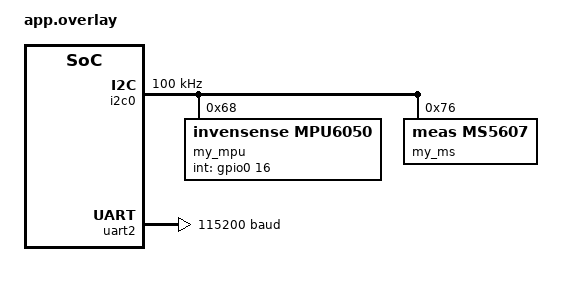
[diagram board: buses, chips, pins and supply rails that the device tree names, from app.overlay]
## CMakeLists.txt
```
cmake_minimum_required(VERSION 3.20.0)
find_package(Zephyr REQUIRED HINTS $ENV{ZEPHYR_BASE})
project(basem_blink)

target_sources(app PRIVATE src/main.c)
```

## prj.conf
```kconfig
CONFIG_GPIO=y
CONFIG_GPIO_ESP32=y

CONFIG_I2C=y
CONFIG_I2C_ESP32=y

CONFIG_SENSOR=y
CONFIG_SENSOR_SHELL=y

CONFIG_MPU6050=y
CONFIG_MPU6050_TRIGGER_OWN_THREAD=y
CONFIG_MPU6050_THREAD_PRIORITY=1
CONFIG_MPU6050_THREAD_STACK_SIZE=1024

CONFIG_MS5607=y
CONFIG_MS5607_PRES_OVER_4096X=y
CONFIG_MS5607_TEMP_OVER_256X=y

CONFIG_SHELL=y
CONFIG_I2C_SHELL=y
CONFIG_UART_CONSOLE=y

CONFIG_MPU6050_ACCEL_FS=8
CONFIG_MPU6050_GYRO_FS=1000

CONFIG_ESP32_USE_UNSUPPORTED_REVISION=y

CONFIG_CBPRINTF_FP_SUPPORT=y
```

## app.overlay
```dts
&i2c0 {
    status = "okay";
    clock-frequency = <100000>;
    my_mpu: mpu6050@68 {
        compatible = "invensense,mpu6050";
        reg = <0x68>;
        int-gpios = <&gpio0 16 GPIO_ACTIVE_HIGH>;
    };
    my_ms: ms5607@76 {
        compatible = "meas,ms5607";
        reg = <0x76>;
    };
};


&uart2 {
    status = "okay";
    current-speed = <115200>;
    pinctrl-0 = <&uart2_default>;
    pinctrl-names = "default";
};
```

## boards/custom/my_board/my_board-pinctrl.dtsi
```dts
#include <zephyr/dt-bindings/pinctrl/esp-pinctrl-common.h>
#include <dt-bindings/pinctrl/esp32s3-pinctrl.h>
#include <zephyr/dt-bindings/pinctrl/esp32s3-gpio-sigmap.h>

&pinctrl {
	uart0_default: uart0_default {
		group1 {
			pinmux = <UART0_TX_GPIO43>;
			output-high;
		};
		group2 {
			pinmux = <UART0_RX_GPIO44>;
			bias-pull-up;
		};
	};

	uart1_default: uart1_default {
		group1 {
			pinmux = <UART1_TX_GPIO17>;
			output-high;
		};
	};

	spi2_custom_pins: spi2_custom_pins {
        group1 {
			pinmux = <SPIM2_MISO_GPIO11>,
				     <SPIM2_SCLK_GPIO12>,
				     <SPIM2_CSEL_GPIO9>;
		};
		group2 {
			pinmux = <SPIM2_MOSI_GPIO10>;
			output-low;
		};
    };
};
```

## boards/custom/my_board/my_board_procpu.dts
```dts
/dts-v1/;

#include "espressif/esp32s3/esp32s3_wroom_n8.dtsi"
#include "my_board-pinctrl.dtsi"
#include <zephyr/dt-bindings/input/input-event-codes.h>
#include <espressif/partitions_0x0_amp.dtsi>
#include <zephyr/dt-bindings/mipi_dbi/mipi_dbi.h>

/ {
	model = "My Board PROCPU";
	compatible = "espressif,esp32s3";

	aliases {
		watchdog0 = &wdt0;
		led-0 = &led0;
	};

	chosen {
		zephyr,sram = &sram0;
		zephyr,console = &uart0;
		zephyr,shell-uart = &uart0;
		zephyr,flash = &flash0;
		zephyr,code-partition = &slot0_partition;
		zephyr,display = &st7735r_160x80;
	};

	aliases {
		uart-0 = &uart0;
		sw0 = &button0;
	};

	buttons {
		compatible = "gpio-keys";
		button0: button_0 {
			gpios = <&gpio0 0 (GPIO_PULL_UP | GPIO_ACTIVE_LOW)>;
			label = "BOOT Button";
			zephyr,code = <INPUT_KEY_0>;
		};
	};

	leds {
        compatible = "gpio-leds";
        led0: d13 {
            gpios = <&gpio0 13 GPIO_ACTIVE_HIGH>;
        };
    };

	mipi_dbi {
		compatible = "zephyr,mipi-dbi-spi";
		spi-dev = <&spi2>;
		dc-gpios = <&gpio0 18 GPIO_ACTIVE_HIGH>;
        reset-gpios = <&gpio0 8 GPIO_ACTIVE_LOW>;
		#address-cells = <1>;
		#size-cells = <0>;

		st7735r_160x80: st7735r@0 {
			compatible = "sitronix,st7735r";
            reg = <0>;
			mipi-max-frequency = <20000000>;
			mipi-mode = <MIPI_DBI_MODE_SPI_4WIRE>;
			width = <160>;
			height = <80>;
			inversion-on;
			rgb-is-inverted; 
			x-offset = <1>;
			y-offset = <26>;
			pwctr1 = [A2 02 84];
			pwctr2 = [C5];
			pwctr3 = [0A 00];
			pwctr4 = [8A 2A];
			pwctr5 = [8A EE];
			invctr = <7>;
			frmctr1 = [01 2C 2D];
			frmctr2 = [01 2C 2D];
			frmctr3 = [01 2C 2D 01 2C 2D];
			vmctr1 = <14>;
			gamctrp1 = [02 1C 07 12 37 32 29 2D 29 25 2B 39 00 01 03 10];
			gamctrn1 = [03 1D 07 06 2E 2C 29 2D 2E 2E 37 3F 00 00 02 10];
			colmod = <5>;
			/* Set D3 (RGB) bit to 1. LV_COLOR_16_SWAP is enabled by default */
			madctl = <184>; /* Set to <184> to rotate the image 180 degrees. */
			caset = [00 01 00 a0];
			raset = [00 1a 00 69];
		};
	};
};

&uart0 {
	status = "okay";
	current-speed = <115200>;
	pinctrl-0 = <&uart0_default>;
	pinctrl-names = "default";
};

&uart1 {
	status = "okay";
	current-speed = <115200>;
	pinctrl-0 = <&uart1_default>;
	pinctrl-names = "default";
};

&gpio0 {
	status = "okay";
};


&wdt0 {
	status = "okay";
};

&spi2 {
	#address-cells = <1>;
	#size-cells = <0>;
	status = "okay";
	pinctrl-0 = <&spi2_custom_pins>;
	pinctrl-names = "default";
};
```

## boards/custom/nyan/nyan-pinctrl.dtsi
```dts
#include <zephyr/dt-bindings/pinctrl/esp-pinctrl-common.h>
#include <dt-bindings/pinctrl/esp32-pinctrl.h>
#include <zephyr/dt-bindings/pinctrl/esp32s3-gpio-sigmap.h>

&pinctrl {
    uart0_default: uart0_default {
        group1 {
            pinmux = <UART0_TX_GPIO43>;
            output-high;
        };
        group2 {
            pinmux = <UART0_RX_GPIO44>;
            bias-pull-up;
        };
    };
};
```

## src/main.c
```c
#include <zephyr/kernel.h>
#include <zephyr/device.h>
#include <zephyr/drivers/sensor.h>
#include <math.h>
#include <time.h>
#include <zephyr/drivers/i2c.h>
#include <zephyr/drivers/uart.h>

#define UART_TEST_NODE DT_NODELABEL(uart2)
#define N 5
#define BARO_LOOP_MS 10
#define BARO_FC_HZ           1.5f       // 1.0 or less for more filtering, 2.0 Hz or less filtering
#define BARO_ALPHA_MIN       0.01f
#define BARO_ALPHA_MAX       0.80f
#define M_PI 3.14159265358979323846
#define BARO_BETA            0.01f    
#define BARO_MIN_STABLE_TIME 300
#define GYRO_STILL_THRESHOLD      2.5f
#define ACCEL_ERROR_THRESHOLD     0.35f       
#define STILL_ENTER_COUNT         20
#define STILL_EXIT_COUNT          8
#define GROUND_CAL_TIMEOUT_MS     20000
#define THERMAL_K1_HPA_PER_C   (-0.170894f)   // from your regression
#define THERMAL_MIN_PRESSURE   300.0f         // safety clamp
#define THERMAL_MAX_PRESSURE   1200.0f        // safety clamp

static const struct device *uart_dev = DEVICE_DT_GET(UART_TEST_NODE);
float A_inv[3][3] = {
		{1.011020f, -0.007368f, 0.008895f}, 
		{-0.007368f, 1.001592f, 0.002973f}, 
		{0.008895f, 0.002979f, 1.000076f}
};
float b_accel[3] = {0.145774f, -0.047434f, -0.799729f};
float pitcha = 0.0f;
float rolla = 0.0f;
float rad_to_deg = 57.29577951f;
int64_t last_time = 0;
float dt = 0.0f;
float rollg = 0.0f, pitchg = 0.0f, yawg = 0.0f;
float rollc = 0.0f, pitchc = 0.0f;
float cnfdne_wght_rol = 0.004f;
float cnfdne_wght_pitch = 0.004f;
float level_offsets[2] = {0.0f, 0.0f};
float gx_cal = 0.0f, gy_cal = 0.0f, gz_cal = 0.0f;
static float baro_ring[N];
static int baro_idx = 0;
static bool baro_full = false;
static bool baro_lpf_init = false;
static float p_lpf = 0.0f;
static int64_t baro_last_time_us = 0;

/* ===== Global IMU Values (updated by trigger_handler at 200 Hz) ===== */
static float raw_g_global[3] = {0.0f, 0.0f, 0.0f};
static float cal_a_global[3] = {0.0f, 0.0f, 0.0f};

void trigger_handler(const struct device *dev, const struct sensor_trigger *trig) {
		int64_t current_time = k_ticks_to_us_near64(k_uptime_ticks());
		if(last_time !=0){
				dt = (current_time - last_time) / 1000000.0f;   // Convert microseconds to seconds
		}else{
				dt = 0.0f;                                      // First reading, no time difference
		}

		last_time = current_time;

		struct sensor_value accel[3];
		struct sensor_value gyro[3];
		float raw_a[3], raw_g[3], cal_a[3], shifted_a[3];

		sensor_sample_fetch(dev);
		sensor_channel_get(dev, SENSOR_CHAN_ACCEL_XYZ, accel);
		sensor_channel_get(dev, SENSOR_CHAN_GYRO_XYZ, gyro);

		for (int i = 0; i < 3; i++) {
				raw_a[i] = (float)sensor_value_to_double(&accel[i]);
				raw_g[i] = (float)sensor_value_to_double(&gyro[i])*rad_to_deg;
				shifted_a[i] = raw_a[i] - b_accel[i];
		}

		for (int i = 0; i < 3; i++) {
				cal_a[i] = A_inv[i][0] * shifted_a[0] + A_inv[i][1] * shifted_a[1] + A_inv[i][2] * shifted_a[2];
		}

		rollg = rollg + (-(raw_g[1] - gy_cal))* dt;
		pitchg = pitchg + (raw_g[0] - gx_cal)* dt;
		yawg = yawg + raw_g[2] * dt;

		rolla = atan2f((cal_a[0] - level_offsets[0]), cal_a[2])*rad_to_deg;
		pitcha = atan2f((cal_a[1] - level_offsets[1]), cal_a[2])*rad_to_deg;

		rollc = (rolla * cnfdne_wght_rol + (1.0f - cnfdne_wght_rol) * (rollc + (-(raw_g[1] - gy_cal))* dt));
		pitchc = (pitcha * cnfdne_wght_pitch + (1.0f - cnfdne_wght_pitch) * (pitchc + (raw_g[0] - gx_cal)* dt));

		for (int i = 0; i < 3; i++) {
				raw_g_global[i] = raw_g[i];
				cal_a_global[i] = cal_a[i];
		}
		// printk("rolla:%f, pitcha:%f, rollc:%f, pitchc:%f\n",
		//     (double)(rolla),
		//     (double)(pitcha),
		//     (double)(rollc),
		//     (double)(pitchc));

}

// Median filter to reduce sudent spikes in barometer readings
static float median5_from_ring(const float ring[N], bool full, int idx)
{
		float w[N];
		int count = full ? N : idx;
		if (count <= 0) {
				return 0.0f;
		}
		for (int i = 0; i < count; i++) {
				w[i] = ring[i];
		}
		for (int i = 0; i < count - 1; i++) {
				for (int j = 0; j < count - 1 - i; j++) {
						if (w[j] > w[j + 1]) {
								float tmp = w[j];
								w[j] = w[j + 1];
								w[j + 1] = tmp;
						}
				}
		}
		return w[count / 2];
}
static float median5_sliding_update(float p_new)
{
		baro_ring[baro_idx] = p_new;
		baro_idx = (baro_idx + 1) % N;

		if (baro_idx == 0) {
				baro_full = true;
		}

		return median5_from_ring(baro_ring, baro_full, baro_idx);
}

/* ---------- Barometer LPF ---------- */

// Compute alpha from cutoff and dt: alpha = 1 - exp(-2*pi*fc*dt)
static float baro_compute_alpha(float fc_hz, float dt_s)
{
		float alpha = 1.0f - expf(-2.0f * (float)M_PI * fc_hz * dt_s);

		if (alpha < BARO_ALPHA_MIN) {
				alpha = BARO_ALPHA_MIN;
		}
		if (alpha > BARO_ALPHA_MAX) {
				alpha = BARO_ALPHA_MAX;
		}
		return alpha;
}
// One-pole IIR LPF update in pressure domain: p_lpf = alpha * p_med + (1-alpha) * p_lpf
static float baro_lpf_update(float p_med, float fc_hz, float dt_s)
{
		float alpha = baro_compute_alpha(fc_hz, dt_s);

		if (!baro_lpf_init) {
				p_lpf = p_med;          /* clean startup */
				baro_lpf_init = true;
		} else {
				p_lpf += alpha * (p_med - p_lpf);
		}

		return p_lpf;
}

/* Stationarity update: returns true when platform is considered still */
static bool stationarity_update(int32_t *still_count,
																int32_t *moving_count,
																bool is_stationary_locked)
{
		float g_snapshot[3];
		float a_snapshot[3];
		g_snapshot[0] = raw_g_global[0];
		g_snapshot[1] = raw_g_global[1];
		g_snapshot[2] = raw_g_global[2];
		a_snapshot[0] = cal_a_global[0];
		a_snapshot[1] = cal_a_global[1];
		a_snapshot[2] = cal_a_global[2];

		float gyro_norm = sqrtf((g_snapshot[0] - gx_cal) * (g_snapshot[0] - gx_cal) +
														(g_snapshot[1] - gy_cal) * (g_snapshot[1] - gy_cal) +
														(g_snapshot[2] - gz_cal) * (g_snapshot[2] - gz_cal));
		float accel_magnitude = sqrtf(a_snapshot[0] * a_snapshot[0] +
																a_snapshot[1] * a_snapshot[1] +
																a_snapshot[2] * a_snapshot[2]);
		float accel_error = fabsf(accel_magnitude - 9.81f);

		bool still_now = (gyro_norm < GYRO_STILL_THRESHOLD) &&
										(accel_error < ACCEL_ERROR_THRESHOLD);

		if (!is_stationary_locked) {
				if (still_now) {
						(*still_count)++;
						*moving_count = 0;
						if (*still_count >= STILL_ENTER_COUNT) {
								is_stationary_locked = true;
								*still_count = 0;
						}
				} else {
						*still_count = 0;
				}
		} else {
				if (!still_now) {
						(*moving_count)++;
						*still_count = 0;
						if (*moving_count >= STILL_EXIT_COUNT) {
								is_stationary_locked = false;
								*moving_count = 0;
						}
				} else {
						*moving_count = 0;
				}
		}

		return is_stationary_locked;
}

/* Ground calibration update: adapts and locks baseline pressure */
static void ground_cal_update(bool is_stationary_locked,
														float p_lpf_sample,
														int64_t now_us,
														int64_t ground_cal_start_us,
														bool *in_GROUND_CAL,
														bool *baseline_locked,
														float *p_ref_adaptive,
														int32_t *ground_cal_samples)
{
		if (!(*in_GROUND_CAL) || *baseline_locked) {
				return;
		}

		if (is_stationary_locked) {
				*p_ref_adaptive += BARO_BETA * (p_lpf_sample - *p_ref_adaptive);
				(*ground_cal_samples)++;
		} else {
				*ground_cal_samples = 0;
				printk("GROUND_CAL reset due to movement\n");
		}

		int64_t cal_elapsed_ms = (now_us - ground_cal_start_us) / 1000;
		if (*ground_cal_samples >= BARO_MIN_STABLE_TIME || cal_elapsed_ms >= GROUND_CAL_TIMEOUT_MS) {
				*baseline_locked = true;
				*in_GROUND_CAL = false;
				printk("GROUND_CAL complete. Baseline: %f hPa, elapsed:%lld ms\n",
						(double)*p_ref_adaptive,
						(long long)cal_elapsed_ms);
		}
}

int main(void) {
		const struct device *dev = DEVICE_DT_GET(DT_NODELABEL(my_mpu));
		const struct device *dev_baro = DEVICE_DT_GET(DT_NODELABEL(my_ms));
		struct sensor_value a_tmp[3], g_tmp[3];
		float a_sum[3] = {0.0f, 0.0f, 0.0f}, g_sum[3] = {0.0f, 0.0f, 0.0f};
		float p_ref = 0.0f;
		int s = 200;
		struct sensor_value pressure, temperature;
		float AltitudeBarometer;
		float R = 287.05; // Specific gas constant for dry air in J/(kg*K)
		float g = 9.80665; // Standard gravity in m/s^2
		float p_av = 0.0f;

		static bool in_GROUND_CAL = true;
		static bool baseline_locked = false;
		static int32_t ground_cal_samples = 0;
		static float p_ref_adaptive = 0.0f;
		static bool is_stationary_locked = false;
		static int32_t still_count = 0;
		static int32_t moving_count = 0;
		static bool thermal_ref_locked = false;
		static float thermal_t_ref_c = 0.0f;
		char tx_buf[64];

		// //Kalman Filter variables
		// static float kf_initialized = false;
		// // System state: X = [h, v]
		// static float h_est = 0.0f;
		// static float v_est = 0.0f;

		// // Convariance P 2*2
		// static float p00 = 1.0f, p01 = 0.0f, p10 = 0.0f, p11 = 1.0f;
		// static float sigma_a = 1.2f;
		// static float r_baro = 0.08f;

		k_msleep(500);

		if (!device_is_ready(dev)){
				printk("MPU6050 not ready!\n");
				return 0;
		}
		if (!device_is_ready(dev_baro)){
				printk("Barometer not ready!\n");
				return 0;
		}

		// 1. Get the I2C bus device that the MPU6050 is connected to
		const struct device *i2c_dev = DEVICE_DT_GET(DT_NODELABEL(i2c0));
		if (!device_is_ready(i2c_dev)) {
				printk("I2C bus not ready!\n");
				return 0;
		}

		if (!device_is_ready(uart_dev)) {
			printk("UART device is not ready\n");
			return 0;
		}
		
		// 2. Set DLPF to Level 1 (Sets base clock to 1000 Hz and filters noise)
		i2c_reg_write_byte(i2c_dev, 0x68, 0x1A, 0x01);

		// 3. Set Sample Rate Divider to 4 (1000 Hz / (1 + 4) = 200 Hz)
		i2c_reg_write_byte(i2c_dev, 0x68, 0x19, 0x04);
		
		for (int i = 0; i < 50; i++){
				sensor_sample_fetch(dev);
				k_msleep(3);
		}
		for (int i = 0; i < 50; i++){
				sensor_sample_fetch(dev_baro);
				k_msleep(10);
		}

		for (int i = 0; i < s; i++) {
				sensor_sample_fetch(dev);
				sensor_channel_get(dev, SENSOR_CHAN_ACCEL_XYZ, a_tmp);
				sensor_channel_get(dev, SENSOR_CHAN_GYRO_XYZ, g_tmp);
				for (int j = 0; j < 3; j++) {
						a_sum[j] += (float)sensor_value_to_double(&a_tmp[j]);
						g_sum[j] += (float)sensor_value_to_double(&g_tmp[j]);
				}
				k_msleep(3);
		}

		float ax = (a_sum[0] / s) - b_accel[0], ay = (a_sum[1] / s) - b_accel[1], az = (a_sum[2] / s) - b_accel[2];
		gx_cal = (g_sum[0] / s) * rad_to_deg, gy_cal = (g_sum[1] / s) * rad_to_deg, gz_cal = (g_sum[2] / s) * rad_to_deg;
		level_offsets[0] = A_inv[0][0] * ax + A_inv[0][1] * ay + A_inv[0][2] * az;
		level_offsets[1] = A_inv[1][0] * ax + A_inv[1][1] * ay + A_inv[1][2] * az;
		struct sensor_trigger trig = {.type = SENSOR_TRIG_DATA_READY, .chan = SENSOR_CHAN_ALL};
		sensor_trigger_set(dev, &trig, trigger_handler);
		
		// Compputing initial reference pressure for altitude calculation by taking median of N samples to reduce effect of spiks
		float samples[9];
		for (int i = 0; i < 9; i++) {
				sensor_sample_fetch(dev_baro);
				sensor_channel_get(dev_baro, SENSOR_CHAN_PRESS, &pressure);
				samples[i] = (float)sensor_value_to_double(&pressure);
				k_msleep(10);
		}
		for (int i = 0; i < 9 - 1; i++) {
				for (int j = i + 1; j < 9; j++) {
						if (samples[j] < samples[i]) {
								float tmp = samples[i];
								samples[i] = samples[j];
								samples[j] = tmp;
						}
				}
		}
		for (int i = 4; i < 7; i++) {
				p_av += samples[i];
		}
		p_ref = p_av / 3.0f;
		// for (int i = 0; i < 9    ; i++) {
		//     printk("%f\n", (double)samples[i]);
		// }
		// printk("%f\n", (double)p_ref);
		p_ref_adaptive = p_ref;
		baro_last_time_us = k_ticks_to_us_near64(k_uptime_ticks());
		int64_t ground_cal_start_us = baro_last_time_us;
		// while (1) k_sleep(K_FOREVER);
		while (1) {
				int64_t now_us = k_ticks_to_us_near64(k_uptime_ticks());
				float dt_meas_s = (baro_last_time_us > 0)
						? ((float)(now_us - baro_last_time_us) / 1000000.0f)
						: 0.02f;
				baro_last_time_us = now_us;
				if (dt_meas_s < 0.010f) dt_meas_s = 0.010f;
				if (dt_meas_s > 0.100f) dt_meas_s = 0.100f;

				is_stationary_locked = stationarity_update(&still_count, &moving_count, is_stationary_locked);

				sensor_sample_fetch(dev_baro);
				sensor_channel_get(dev_baro, SENSOR_CHAN_PRESS, &pressure);
				sensor_channel_get(dev_baro, SENSOR_CHAN_AMBIENT_TEMP, &temperature);
				float p_raw = (float)sensor_value_to_double(&pressure);
				float t = (float)sensor_value_to_double(&temperature);

				float p_med = median5_sliding_update(p_raw);
				float p_lpf = baro_lpf_update(p_med, BARO_FC_HZ, dt_meas_s);
				ground_cal_update(is_stationary_locked, p_lpf, now_us, ground_cal_start_us, &in_GROUND_CAL, &baseline_locked, &p_ref_adaptive,
												&ground_cal_samples);
				if (baseline_locked && !thermal_ref_locked) {
						thermal_t_ref_c = t;       // current ambient temp from sensor
						thermal_ref_locked = true;
						printk("THERMAL_REF locked: %f C\n", (double)thermal_t_ref_c);
				}
				float p_used = p_lpf;
				if (thermal_ref_locked) {
						float delta_t_c = t - thermal_t_ref_c;   // current temp - reference temp
						// printk("delta_t:%f\n", (double)delta_t_c);
						float p_thermal_bias = THERMAL_K1_HPA_PER_C * delta_t_c;
						float p_corr = p_lpf - p_thermal_bias;
						// Safety clamp before logf()
						if (p_corr < THERMAL_MIN_PRESSURE) p_corr = THERMAL_MIN_PRESSURE;
						if (p_corr > THERMAL_MAX_PRESSURE) p_corr = THERMAL_MAX_PRESSURE;

						p_used = p_corr;
				}

				float t_k = t + 273.15f; // Convert to Kelvin 
				float a = (R * t_k) / g; // Scale height
				AltitudeBarometer = a * logf(p_ref_adaptive / p_used); // Altitude calculation using barometric formula
				// if(baseline_locked && thermal_ref_locked && !kf_initialized){
				// 		h_est = AltitudeBarometer;
				// 		v_est = 0.0f;
				// 		p00 = 0.5f, p01 = 0.0f, p10 = 0.0f, p11 = 1.0f;
				// 		kf_initialized = true;
				// 		printk("KF init: h: %f, v: %f\n", (double)h_est, (double)v_est);
				// }
				// AltitudeBarometer = 44330.0f * (1.0f - powf(p_lpf / p_ref_adaptive, 0.1903f));       // Alttude calculation using simplified barometric formula
				if (baseline_locked) {
					// printk("alt:%f\n", (double)AltitudeBarometer);
					int len = snprintk(tx_buf, sizeof(tx_buf), "%.6f,%.6f,%.6f,%.6f,%.6f\n",
									pitchc, rollc, AltitudeBarometer, t, p_used);

					for (int i = 0; i < len; i++) {
						uart_poll_out(uart_dev, tx_buf[i]);
					}
				}
				k_msleep(BARO_LOOP_MS);
		}
}
```
